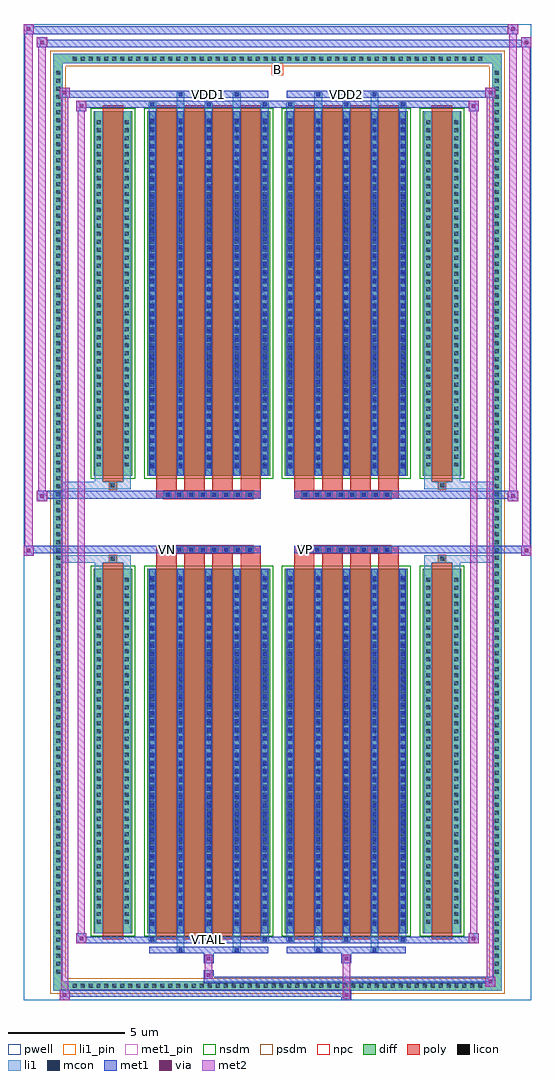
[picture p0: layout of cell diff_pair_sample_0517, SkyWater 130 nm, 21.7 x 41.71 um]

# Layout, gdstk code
import gdstk
lib = gdstk.Library(unit=1e-6, precision=5e-09)
def R(c, l, rs):  # rectangles x0, y0, x1, y1
    for r in rs: c.add(gdstk.rectangle(r[:2], r[2:], *l))
def A(c, l, x, y, w, h, nx, ny, dx, dy):  # array of equal rectangles
    R(c, l, [(x+i*dx, y+j*dy, x+i*dx+w, y+j*dy+h) for i in range(nx) for j in range(ny)])
def P(c, l, *ps):  # polygons
    for p in ps: c.add(gdstk.Polygon(p, *l))
pwell = (64, 44)
diff = (65, 20)
poly = (66, 20)
licon = (66, 44)
li1_pin = (67, 16)
li1 = (67, 20)
mcon = (67, 44)
met1_pin = (68, 16)
met1 = (68, 20)
via = (68, 44)
met2 = (69, 20)
nsdm = (93, 44)
psdm = (94, 20)
npc = (95, 20)

diff_pair_sample_0517 = lib.new_cell('diff_pair_sample_0517')
R(diff_pair_sample_0517, pwell, [(-10.85,-20.42,10.85,21.29), (-8.17,-18.61,-0.01,-0.805), (0.01,-18.61,8.17,-0.805), (-8.17,0.805,-0.01,18.61), (0.01,0.805,8.17,18.61)])
A(diff_pair_sample_0517, diff, -8.875, -20.02, 0.41, 0.41, 52, 2, 0.34, 39.63)
A(diff_pair_sample_0517, diff, -9.58, -19.415, 0.41, 0.41, 1, 114, 0, 0.34)
A(diff_pair_sample_0517, diff, 9.17, -19.415, 0.41, 0.41, 1, 114, 0, 0.34)
R(diff_pair_sample_0517, diff, [(-8.875,-20.02,8.875,-19.61), (-9.58,-19.415,-9.17,19.415), (9.17,-19.415,9.58,19.415), (-7.86,-17.565,-6.21,-1.985), (-5.57,-17.565,-0.32,-1.985), (0.32,-17.565,5.57,-1.985), (6.21,-17.565,7.86,-1.985), (-7.86,1.985,-6.21,17.565), (-5.57,1.985,-0.32,17.565), (0.32,1.985,5.57,17.565), (6.21,1.985,7.86,17.565), (-8.875,19.61,8.875,20.02)])
P(diff_pair_sample_0517, diff, [(9.58,20.02),(-9.58,20.02),(-9.58,-19.61),(-9.17,-19.61),(-9.17,19.61),(9.17,19.61),(9.17,-19.61),(-9.17,-19.61),(-9.58,-19.61),(-9.58,-20.02),(9.58,-20.02)])
A(diff_pair_sample_0517, poly, -5.18, -17.815, 0.87, 16.08, 4, 2, 1.2, 19.55)
A(diff_pair_sample_0517, poly, 0.71, -17.815, 0.87, 16.08, 4, 2, 1.2, 19.55)
A(diff_pair_sample_0517, poly, -5.18, -1.735, 0.87, 0.4, 4, 2, 1.2, 3.07)
A(diff_pair_sample_0517, poly, 0.71, -1.735, 0.87, 0.4, 4, 2, 1.2, 3.07)
A(diff_pair_sample_0517, poly, -4.86, -1.335, 0.33, 0.33, 8, 2, 0.5, 2.34)
A(diff_pair_sample_0517, poly, 1.03, -1.335, 0.33, 0.33, 8, 2, 0.5, 2.34)
R(diff_pair_sample_0517, poly, [(-7.47,-17.815,-6.6,-1.735), (6.6,-17.815,7.47,-1.735), (-7.2,-1.735,-6.87,-1.405), (-7.2,-1.735,-6.87,-1.405), (6.87,-1.735,7.2,-1.405), (6.87,-1.735,7.2,-1.405), (-5.18,-1.335,-0.71,-1.005), (0.71,-1.335,5.18,-1.005), (-5.18,1.005,-0.71,1.335), (0.71,1.005,5.18,1.335), (-7.2,1.405,-6.87,1.735), (-7.2,1.405,-6.87,1.735), (6.87,1.405,7.2,1.735), (6.87,1.405,7.2,1.735), (-7.47,1.735,-6.6,17.815), (6.6,1.735,7.47,17.815)])
A(diff_pair_sample_0517, licon, -8.755, -19.9, 0.17, 0.17, 52, 2, 0.34, 39.63)
A(diff_pair_sample_0517, licon, -9.46, -19.295, 0.17, 0.17, 1, 114, 0, 0.34)
A(diff_pair_sample_0517, licon, 9.29, -19.295, 0.17, 0.17, 1, 114, 0, 0.34)
A(diff_pair_sample_0517, licon, -7.72, -17.17, 0.17, 0.17, 1, 44, 0, 0.34)
A(diff_pair_sample_0517, licon, -6.52, -17.17, 0.17, 0.17, 1, 44, 0, 0.34)
A(diff_pair_sample_0517, licon, -5.43, -17.17, 0.17, 0.17, 5, 44, 1.2, 0.34)
A(diff_pair_sample_0517, licon, 0.46, -17.17, 0.17, 0.17, 5, 44, 1.2, 0.34)
A(diff_pair_sample_0517, licon, 6.35, -17.17, 0.17, 0.17, 1, 44, 0, 0.34)
A(diff_pair_sample_0517, licon, 7.55, -17.17, 0.17, 0.17, 1, 44, 0, 0.34)
A(diff_pair_sample_0517, licon, -4.78, -1.255, 0.17, 0.17, 8, 2, 0.5, 2.34)
A(diff_pair_sample_0517, licon, 1.11, -1.255, 0.17, 0.17, 8, 2, 0.5, 2.34)
A(diff_pair_sample_0517, licon, -7.72, 2.38, 0.17, 0.17, 1, 44, 0, 0.34)
A(diff_pair_sample_0517, licon, -6.52, 2.38, 0.17, 0.17, 1, 44, 0, 0.34)
A(diff_pair_sample_0517, licon, -5.43, 2.38, 0.17, 0.17, 5, 44, 1.2, 0.34)
A(diff_pair_sample_0517, licon, 0.46, 2.38, 0.17, 0.17, 5, 44, 1.2, 0.34)
A(diff_pair_sample_0517, licon, 6.35, 2.38, 0.17, 0.17, 1, 44, 0, 0.34)
A(diff_pair_sample_0517, licon, 7.55, 2.38, 0.17, 0.17, 1, 44, 0, 0.34)
R(diff_pair_sample_0517, licon, [(-7.12,-1.655,-6.95,-1.485), (6.95,-1.655,7.12,-1.485), (-7.12,1.485,-6.95,1.655), (6.95,1.485,7.12,1.655)])
R(diff_pair_sample_0517, li1_pin, [(-0.25,19.11,0.25,19.61)])
A(diff_pair_sample_0517, li1, -8.835, -19.98, 0.33, 0.33, 52, 2, 0.34, 39.63)
A(diff_pair_sample_0517, li1, -9.54, -19.375, 0.33, 0.33, 1, 114, 0, 0.34)
A(diff_pair_sample_0517, li1, 9.21, -19.375, 0.33, 0.33, 1, 114, 0, 0.34)
A(diff_pair_sample_0517, li1, -5.51, -17.94, 0.33, 0.375, 3, 2, 2.4, 35.505)
A(diff_pair_sample_0517, li1, -5.43, -17.94, 0.17, 0.17, 3, 2, 2.4, 35.71)
A(diff_pair_sample_0517, li1, 0.38, -17.94, 0.33, 0.375, 3, 2, 2.4, 35.505)
A(diff_pair_sample_0517, li1, 0.46, -17.94, 0.17, 0.17, 3, 2, 2.4, 35.71)
A(diff_pair_sample_0517, li1, -5.51, -17.565, 0.33, 15.58, 5, 2, 1.2, 19.55)
A(diff_pair_sample_0517, li1, 0.38, -17.565, 0.33, 15.58, 5, 2, 1.2, 19.55)
A(diff_pair_sample_0517, li1, -7.8, -17.25, 0.33, 0.33, 1, 44, 0, 0.34)
A(diff_pair_sample_0517, li1, -6.6, -17.25, 0.33, 0.33, 1, 44, 0, 0.34)
A(diff_pair_sample_0517, li1, -5.51, -17.25, 0.33, 0.33, 5, 44, 1.2, 0.34)
A(diff_pair_sample_0517, li1, 0.38, -17.25, 0.33, 0.33, 5, 44, 1.2, 0.34)
A(diff_pair_sample_0517, li1, 6.27, -17.25, 0.33, 0.33, 1, 44, 0, 0.34)
A(diff_pair_sample_0517, li1, 7.47, -17.25, 0.33, 0.33, 1, 44, 0, 0.34)
A(diff_pair_sample_0517, li1, -5.43, -17.24, 0.17, 0.17, 5, 42, 1.2, 0.36)
A(diff_pair_sample_0517, li1, -5.43, -17.24, 0.17, 14.93, 5, 2, 1.2, 19.55)
A(diff_pair_sample_0517, li1, 0.46, -17.24, 0.17, 0.17, 5, 42, 1.2, 0.36)
A(diff_pair_sample_0517, li1, 0.46, -17.24, 0.17, 14.93, 5, 2, 1.2, 19.55)
A(diff_pair_sample_0517, li1, -4.86, -1.335, 0.33, 0.33, 8, 2, 0.5, 2.34)
A(diff_pair_sample_0517, li1, 1.03, -1.335, 0.33, 0.33, 8, 2, 0.5, 2.34)
A(diff_pair_sample_0517, li1, -7.8, 2.3, 0.33, 0.33, 1, 44, 0, 0.34)
A(diff_pair_sample_0517, li1, -6.6, 2.3, 0.33, 0.33, 1, 44, 0, 0.34)
A(diff_pair_sample_0517, li1, -5.51, 2.3, 0.33, 0.33, 5, 44, 1.2, 0.34)
A(diff_pair_sample_0517, li1, 0.38, 2.3, 0.33, 0.33, 5, 44, 1.2, 0.34)
A(diff_pair_sample_0517, li1, 6.27, 2.3, 0.33, 0.33, 1, 44, 0, 0.34)
A(diff_pair_sample_0517, li1, 7.47, 2.3, 0.33, 0.33, 1, 44, 0, 0.34)
A(diff_pair_sample_0517, li1, -5.43, 2.31, 0.17, 0.17, 5, 42, 1.2, 0.36)
A(diff_pair_sample_0517, li1, 0.46, 2.31, 0.17, 0.17, 5, 42, 1.2, 0.36)
R(diff_pair_sample_0517, li1, [(-9.58,-20.02,-9.17,-19.61), (-9.58,-20.02,-9.17,-19.61), (-9.17,-20.02,9.17,-19.61), (9.17,-20.02,9.58,-19.61), (9.17,-20.02,9.58,-19.61), (-9.58,-19.61,-9.17,19.61), (9.17,-19.61,9.58,19.61), (-4.31,-18.37,-3.98,-17.565), (-4.23,-18.37,-4.06,-18.2), (-1.91,-18.37,-1.58,-17.565), (-1.83,-18.37,-1.66,-18.2), (1.58,-18.37,1.91,-17.565), (1.66,-18.37,1.83,-18.2), (3.98,-18.37,4.31,-17.565), (4.06,-18.37,4.23,-18.2), (-7.8,-17.565,-7.47,-1.985), (-6.6,-17.565,-6.27,-1.985), (6.27,-17.565,6.6,-1.985), (7.47,-17.565,7.8,-1.985), (-7.8,-1.985,-7.47,-1.405), (-6.6,-1.985,-6.27,-1.405), (6.27,-1.985,6.6,-1.405), (7.47,-1.985,7.8,-1.405), (-9.58,-1.735,-7.2,-1.405), (-7.8,-1.735,-7.2,-1.405), (-7.2,-1.735,-6.87,-1.405), (-6.87,-1.735,-6.27,-1.405), (6.27,-1.735,6.87,-1.405), (6.87,-1.735,7.2,-1.405), (6.87,-1.735,9.58,-1.405), (7.2,-1.735,7.8,-1.405), (-9.58,1.405,-7.2,1.735), (-7.8,1.405,-7.2,1.735), (-7.8,1.405,-7.47,1.985), (-7.2,1.405,-6.87,1.735), (-6.87,1.405,-6.27,1.735), (-6.6,1.405,-6.27,1.985), (6.27,1.405,6.87,1.735), (6.27,1.405,6.6,1.985), (6.87,1.405,7.2,1.735), (6.87,1.405,9.58,1.735), (7.2,1.405,7.8,1.735), (7.47,1.405,7.8,1.985), (-7.8,1.985,-7.47,17.565), (-6.6,1.985,-6.27,17.565), (6.27,1.985,6.6,17.565), (7.47,1.985,7.8,17.565), (-4.31,17.565,-3.98,18.37), (-1.91,17.565,-1.58,18.37), (1.58,17.565,1.91,18.37), (3.98,17.565,4.31,18.37), (-4.23,18.2,-4.06,18.37), (-1.83,18.2,-1.66,18.37), (1.66,18.2,1.83,18.37), (4.06,18.2,4.23,18.37), (-9.58,19.61,-9.17,20.02), (-9.58,19.61,-9.17,20.02), (-9.17,19.61,9.17,20.02), (9.17,19.61,9.58,20.02), (9.17,19.61,9.58,20.02)])
A(diff_pair_sample_0517, mcon, -5.43, -17.94, 0.17, 0.17, 3, 2, 2.4, 35.71)
A(diff_pair_sample_0517, mcon, 0.46, -17.94, 0.17, 0.17, 3, 2, 2.4, 35.71)
A(diff_pair_sample_0517, mcon, -5.43, -17.24, 0.17, 0.17, 5, 42, 1.2, 0.36)
A(diff_pair_sample_0517, mcon, 0.46, -17.24, 0.17, 0.17, 5, 42, 1.2, 0.36)
A(diff_pair_sample_0517, mcon, -4.78, -1.255, 0.17, 0.17, 8, 2, 0.5, 2.34)
A(diff_pair_sample_0517, mcon, 1.11, -1.255, 0.17, 0.17, 8, 2, 0.5, 2.34)
A(diff_pair_sample_0517, mcon, -5.43, 2.31, 0.17, 0.17, 5, 42, 1.2, 0.36)
A(diff_pair_sample_0517, mcon, 0.46, 2.31, 0.17, 0.17, 5, 42, 1.2, 0.36)
R(diff_pair_sample_0517, mcon, [(-4.23,-18.37,-4.06,-18.2), (-1.83,-18.37,-1.66,-18.2), (1.66,-18.37,1.83,-18.2), (4.06,-18.37,4.23,-18.2), (-4.23,18.2,-4.06,18.37), (-1.83,18.2,-1.66,18.37), (1.66,18.2,1.83,18.37), (4.06,18.2,4.23,18.37)])
R(diff_pair_sample_0517, met1_pin, [(-3.08,-17.98,-2.81,-17.71), (-4.83,-1.295,-4.56,-1.025), (1.06,-1.295,1.33,-1.025), (-3.08,18.16,-2.81,18.43), (2.81,18.16,3.08,18.43)])
A(diff_pair_sample_0517, met1, -5.49, -18, 0.29, 0.29, 3, 2, 2.4, 35.71)
A(diff_pair_sample_0517, met1, 0.4, -18, 0.29, 0.29, 3, 2, 2.4, 35.71)
A(diff_pair_sample_0517, met1, -5.49, -17.565, 0.29, 15.58, 5, 2, 1.2, 19.55)
A(diff_pair_sample_0517, met1, 0.4, -17.565, 0.29, 15.58, 5, 2, 1.2, 19.55)
A(diff_pair_sample_0517, met1, -5.49, -17.3, 0.29, 0.29, 5, 42, 1.2, 0.36)
A(diff_pair_sample_0517, met1, 0.4, -17.3, 0.29, 0.29, 5, 42, 1.2, 0.36)
A(diff_pair_sample_0517, met1, -4.84, -1.315, 0.29, 0.29, 8, 2, 0.5, 2.34)
A(diff_pair_sample_0517, met1, 1.05, -1.315, 0.29, 0.29, 8, 2, 0.5, 2.34)
A(diff_pair_sample_0517, met1, -5.49, 2.25, 0.29, 0.29, 5, 42, 1.2, 0.36)
A(diff_pair_sample_0517, met1, 0.4, 2.25, 0.29, 0.29, 5, 42, 1.2, 0.36)
R(diff_pair_sample_0517, met1, [(-9.31,-20.42,-8.88,-19.99), (2.73,-20.42,3.16,-19.99), (-9.31,-20.28,3.16,-19.99), (8.88,-19.85,9.31,-19.42), (-3.16,-19.71,9.31,-19.42), (-3.16,-19.57,-2.73,-19.14), (-3.16,-18.86,-2.73,-18.43), (2.73,-18.86,3.16,-18.43), (-5.49,-18.43,-0.4,-18.14), (-4.29,-18.43,-4,-18.14), (-1.89,-18.43,-1.6,-18.14), (0.4,-18.43,5.49,-18.14), (1.6,-18.43,1.89,-18.14), (4,-18.43,4.29,-18.14), (-8.6,-18,-8.17,-17.57), (-8.6,-18,-5.49,-17.71), (-5.49,-18,-0.4,-17.71), (-0.4,-18,0.4,-17.71), (0.4,-18,5.49,-17.71), (5.49,-18,8.6,-17.71), (8.17,-18,8.6,-17.57), (-10.85,-1.435,-10.42,-1.005), (10.42,-1.435,10.85,-1.005), (-10.85,-1.335,-0.71,-1.005), (-5.18,-1.335,-0.71,-1.005), (0.71,-1.335,5.18,-1.005), (0.71,-1.335,10.85,-1.005), (-10.28,0.905,-9.85,1.335), (9.85,0.905,10.28,1.335), (-10.28,1.005,-5.18,1.335), (-5.18,1.005,-0.71,1.335), (0.71,1.005,5.18,1.335), (5.18,1.005,10.28,1.335), (-8.6,17.57,-8.17,18), (8.17,17.57,8.6,18), (-8.6,17.71,-5.49,18), (-5.49,17.71,-0.4,18), (-0.4,17.71,0.4,18), (0.4,17.71,5.49,18), (5.49,17.71,8.6,18), (-9.31,18.14,-8.88,18.57), (-9.31,18.14,-5.49,18.43), (-5.49,18.14,-0.4,18.43), (-4.29,18.14,-4,18.43), (-1.89,18.14,-1.6,18.43), (0.4,18.14,5.49,18.43), (1.6,18.14,1.89,18.43), (4,18.14,4.29,18.43), (5.49,18.14,9.31,18.43), (8.88,18.14,9.31,18.57), (-10.28,20.29,-9.85,20.72), (-10.28,20.29,-8.17,20.62), (-8.17,20.29,8.17,20.62), (8.17,20.29,10.85,20.62), (10.42,20.29,10.85,20.72), (-10.85,20.86,-10.42,21.29), (-10.85,20.86,-8.17,21.19), (-8.17,20.86,8.17,21.19), (8.17,20.86,10.28,21.19), (9.85,20.86,10.28,21.29)])
R(diff_pair_sample_0517, via, [(-9.17,-20.28,-9.02,-20.13), (2.87,-20.28,3.02,-20.13), (9.02,-19.71,9.17,-19.56), (-3.02,-19.43,-2.87,-19.28), (-3.02,-18.72,-2.87,-18.57), (2.87,-18.72,3.02,-18.57), (-8.46,-17.86,-8.31,-17.71), (8.31,-17.86,8.46,-17.71), (-10.71,-1.295,-10.56,-1.145), (10.56,-1.295,10.71,-1.145), (-10.14,1.045,-9.99,1.195), (9.99,1.045,10.14,1.195), (-8.46,17.71,-8.31,17.86), (8.31,17.71,8.46,17.86), (-9.17,18.28,-9.02,18.43), (9.02,18.28,9.17,18.43), (-10.14,20.43,-9.99,20.58), (10.56,20.43,10.71,20.58), (-10.71,21,-10.56,21.15), (9.99,21,10.14,21.15)])
R(diff_pair_sample_0517, met2, [(-9.31,-20.42,-8.88,-19.99), (-9.24,-20.42,-8.95,18.57), (-8.95,-20.42,-8.88,-19.99), (-9.26,-20.37,-8.93,-20.04), (2.78,-20.37,3.11,-20.04), (2.78,-20.04,3.11,-18.81), (8.88,-19.85,9.31,-19.42), (8.95,-19.85,9.24,18.57), (9.24,-19.85,9.31,-19.42), (8.93,-19.8,9.26,-19.47), (-3.11,-19.52,-2.78,-19.19), (-3.11,-19.19,-2.78,-18.81), (-3.11,-18.81,-2.78,-18.48), (2.78,-18.81,3.11,-18.48), (-8.6,-18,-8.17,-17.57), (-8.53,-18,-8.24,18), (-8.24,-18,-8.17,-17.57), (8.17,-18,8.6,-17.57), (8.24,-18,8.53,18), (8.53,-18,8.6,-17.57), (-8.55,-17.95,-8.22,-17.62), (8.22,-17.95,8.55,-17.62), (-10.85,-1.435,-10.42,-1.005), (-10.8,-1.435,-10.47,21.29), (-10.47,-1.435,-10.42,-1.005), (10.42,-1.435,10.85,-1.005), (10.47,-1.435,10.8,20.72), (10.8,-1.435,10.85,-1.005), (-10.8,-1.385,-10.47,-1.055), (10.47,-1.385,10.8,-1.055), (-10.28,0.905,-9.85,1.335), (-10.23,0.905,-9.9,20.72), (-9.9,0.905,-9.85,1.335), (9.85,0.905,10.28,1.335), (9.9,0.905,10.23,21.29), (10.23,0.905,10.28,1.335), (-10.23,0.955,-9.9,1.285), (9.9,0.955,10.23,1.285), (-8.6,17.57,-8.17,18), (-8.24,17.57,-8.17,18), (8.17,17.57,8.6,18), (8.53,17.57,8.6,18), (-8.55,17.62,-8.22,17.95), (8.22,17.62,8.55,17.95), (-9.31,18.14,-8.88,18.57), (-8.95,18.14,-8.88,18.57), (8.88,18.14,9.31,18.57), (9.24,18.14,9.31,18.57), (-9.26,18.19,-8.93,18.52), (8.93,18.19,9.26,18.52), (-10.28,20.29,-9.85,20.72), (-9.9,20.29,-9.85,20.72), (10.42,20.29,10.85,20.72), (10.8,20.29,10.85,20.72), (-10.23,20.34,-9.9,20.67), (10.47,20.34,10.8,20.67), (-10.85,20.86,-10.42,21.29), (-10.47,20.86,-10.42,21.29), (9.85,20.86,10.28,21.29), (10.23,20.86,10.28,21.29), (-10.8,20.91,-10.47,21.24), (9.9,20.91,10.23,21.24)])
R(diff_pair_sample_0517, nsdm, [(-7.99,-17.695,-6.08,-1.855), (-5.7,-17.695,-0.19,-1.855), (0.19,-17.695,5.7,-1.855), (6.08,-17.695,7.99,-1.855), (-7.99,1.855,-6.08,17.695), (-5.7,1.855,-0.19,17.695), (0.19,1.855,5.7,17.695), (6.08,1.855,7.99,17.695)])
P(diff_pair_sample_0517, psdm, [(9.71,20.15),(-9.71,20.15),(-9.71,-19.48),(-9.04,-19.48),(-9.04,19.48),(9.04,19.48),(9.04,-19.48),(-9.04,-19.48),(-9.71,-19.48),(-9.71,-20.15),(9.71,-20.15)])
A(diff_pair_sample_0517, npc, -4.88, -1.355, 0.37, 0.37, 8, 2, 0.5, 2.34)
A(diff_pair_sample_0517, npc, 1.01, -1.355, 0.37, 0.37, 8, 2, 0.5, 2.34)
R(diff_pair_sample_0517, npc, [(-7.22,-1.755,-6.85,-1.385), (6.85,-1.755,7.22,-1.385), (-4.88,-1.355,-4.01,-0.985), (-4.88,-1.355,-4.01,-0.985), (-4.38,-1.355,-3.51,-0.985), (-4.38,-1.355,-3.51,-0.985), (-3.88,-1.355,-3.01,-0.985), (-3.88,-1.355,-3.01,-0.985), (-3.38,-1.355,-2.51,-0.985), (-3.38,-1.355,-2.51,-0.985), (-2.88,-1.355,-2.01,-0.985), (-2.88,-1.355,-2.01,-0.985), (-2.38,-1.355,-1.51,-0.985), (-2.38,-1.355,-1.51,-0.985), (-1.88,-1.355,-1.01,-0.985), (-1.88,-1.355,-1.01,-0.985), (1.01,-1.355,1.88,-0.985), (1.01,-1.355,1.88,-0.985), (1.51,-1.355,2.38,-0.985), (1.51,-1.355,2.38,-0.985), (2.01,-1.355,2.88,-0.985), (2.01,-1.355,2.88,-0.985), (2.51,-1.355,3.38,-0.985), (2.51,-1.355,3.38,-0.985), (3.01,-1.355,3.88,-0.985), (3.01,-1.355,3.88,-0.985), (3.51,-1.355,4.38,-0.985), (3.51,-1.355,4.38,-0.985), (4.01,-1.355,4.88,-0.985), (4.01,-1.355,4.88,-0.985), (-4.88,0.985,-4.01,1.355), (-4.88,0.985,-4.01,1.355), (-4.38,0.985,-3.51,1.355), (-4.38,0.985,-3.51,1.355), (-3.88,0.985,-3.01,1.355), (-3.88,0.985,-3.01,1.355), (-3.38,0.985,-2.51,1.355), (-3.38,0.985,-2.51,1.355), (-2.88,0.985,-2.01,1.355), (-2.88,0.985,-2.01,1.355), (-2.38,0.985,-1.51,1.355), (-2.38,0.985,-1.51,1.355), (-1.88,0.985,-1.01,1.355), (-1.88,0.985,-1.01,1.355), (1.01,0.985,1.88,1.355), (1.01,0.985,1.88,1.355), (1.51,0.985,2.38,1.355), (1.51,0.985,2.38,1.355), (2.01,0.985,2.88,1.355), (2.01,0.985,2.88,1.355), (2.51,0.985,3.38,1.355), (2.51,0.985,3.38,1.355), (3.01,0.985,3.88,1.355), (3.01,0.985,3.88,1.355), (3.51,0.985,4.38,1.355), (3.51,0.985,4.38,1.355), (4.01,0.985,4.88,1.355), (4.01,0.985,4.88,1.355), (-7.22,1.385,-6.85,1.755), (6.85,1.385,7.22,1.755)])
diff_pair_sample_0517.add(gdstk.Label('VTAIL', (-2.945,-17.845), layer=68, texttype=5))
diff_pair_sample_0517.add(gdstk.Label('VN', (-4.695,-1.16), layer=68, texttype=5))
diff_pair_sample_0517.add(gdstk.Label('VP', (1.195,-1.16), layer=68, texttype=5))
diff_pair_sample_0517.add(gdstk.Label('B', (0,19.36), layer=67, texttype=5))
diff_pair_sample_0517.add(gdstk.Label('VDD2', (2.945,18.295), layer=68, texttype=5))
diff_pair_sample_0517.add(gdstk.Label('VDD1', (-2.945,18.295), layer=68, texttype=5))

lib.write_gds('diff_pair_sample_0517.gds')
